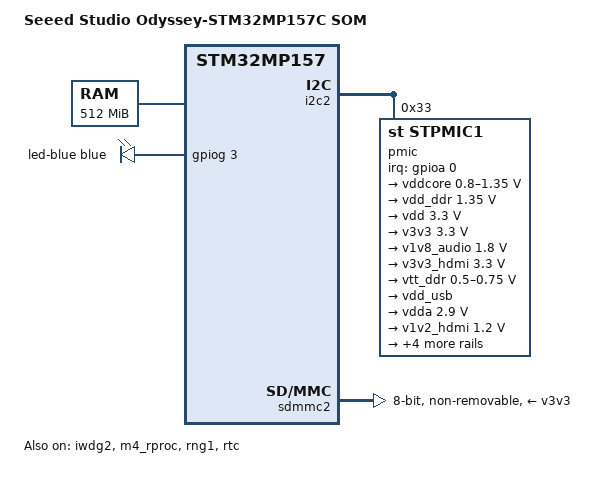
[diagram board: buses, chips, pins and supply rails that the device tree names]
// SPDX-License-Identifier: (GPL-2.0+ OR BSD-3-Clause)
/*
 * Copyright (C) 2020 Marcin Sloniewski <marcin.sloniewski@gmail.com>.
 */

/dts-v1/;

#include "stm32mp157.dtsi"
#include "stm32mp15xc.dtsi"
#include "stm32mp15-pinctrl.dtsi"
#include "stm32mp15xxac-pinctrl.dtsi"
#include <dt-bindings/gpio/gpio.h>
#include <dt-bindings/leds/common.h>
#include <dt-bindings/mfd/st,stpmic1.h>

/ {
	model = "Seeed Studio Odyssey-STM32MP157C SOM";
	compatible = "seeed,stm32mp157c-odyssey-som", "st,stm32mp157";

	memory@c0000000 {
		device_type = "memory";
		reg = <0xc0000000 0x20000000>;
	};

	reserved-memory {
		#address-cells = <1>;
		#size-cells = <1>;
		ranges;

		mcuram2: mcuram2@10000000 {
			compatible = "shared-dma-pool";
			reg = <0x10000000 0x40000>;
			no-map;
		};

		vdev0vring0: vdev0vring0@10040000 {
			compatible = "shared-dma-pool";
			reg = <0x10040000 0x1000>;
			no-map;
		};

		vdev0vring1: vdev0vring1@10041000 {
			compatible = "shared-dma-pool";
			reg = <0x10041000 0x1000>;
			no-map;
		};

		vdev0buffer: vdev0buffer@10042000 {
			compatible = "shared-dma-pool";
			reg = <0x10042000 0x4000>;
			no-map;
		};

		mcuram: mcuram@30000000 {
			compatible = "shared-dma-pool";
			reg = <0x30000000 0x40000>;
			no-map;
		};

		retram: retram@38000000 {
			compatible = "shared-dma-pool";
			reg = <0x38000000 0x10000>;
			no-map;
		};
	};

	led {
		compatible = "gpio-leds";
		led-blue {
			color = <LED_COLOR_ID_BLUE>;
			function = LED_FUNCTION_HEARTBEAT;
			gpios = <&gpiog 3 GPIO_ACTIVE_HIGH>;
			linux,default-trigger = "heartbeat";
		};
	};
};

&bsec {
	bootph-all;
};

&clk_hse {
	bootph-all;
};

&clk_hsi {
	bootph-all;
};

&clk_lse {
	bootph-all;
};

&clk_lsi {
	bootph-all;
};

&clk_csi {
	bootph-all;
};

&gpioa {
	bootph-all;
};

&gpiob {
	bootph-all;
};

&gpioc {
	bootph-all;
};

&gpiod {
	bootph-all;
};

&gpioe {
	bootph-all;
};

&gpiof {
	bootph-all;
};

&gpiog {
	bootph-all;
};

&gpioh {
	bootph-all;
};

&gpioi {
	bootph-all;
};

&gpioj {
	bootph-all;
};

&gpiok {
	bootph-all;
};

&gpioz {
	bootph-all;
};

&i2c2 {
	pinctrl-names = "default";
	pinctrl-0 = <&i2c2_pins_a>;
	i2c-scl-rising-time-ns = <185>;
	i2c-scl-falling-time-ns = <20>;
	bootph-all;
	status = "okay";
	/* spare dmas for other usage */
	/delete-property/dmas;
	/delete-property/dma-names;

	pmic: stpmic@33 {
		compatible = "st,stpmic1";
		reg = <0x33>;
		interrupts-extended = <&gpioa 0 IRQ_TYPE_EDGE_FALLING>;
		interrupt-controller;
		#interrupt-cells = <2>;
		bootph-all;

		regulators {
			compatible = "st,stpmic1-regulators";
			ldo1-supply = <&v3v3>;
			ldo3-supply = <&vdd_ddr>;
			ldo6-supply = <&v3v3>;
			pwr_sw1-supply = <&bst_out>;
			pwr_sw2-supply = <&bst_out>;

			vddcore: buck1 {
				regulator-name = "vddcore";
				regulator-min-microvolt = <800000>;
				regulator-max-microvolt = <1350000>;
				regulator-always-on;
				regulator-initial-mode = <0>;
				regulator-over-current-protection;
			};

			vdd_ddr: buck2 {
				regulator-name = "vdd_ddr";
				regulator-min-microvolt = <1350000>;
				regulator-max-microvolt = <1350000>;
				regulator-always-on;
				regulator-initial-mode = <0>;
				regulator-over-current-protection;
			};

			vdd: buck3 {
				regulator-name = "vdd";
				regulator-min-microvolt = <3300000>;
				regulator-max-microvolt = <3300000>;
				regulator-always-on;
				st,mask-reset;
				regulator-initial-mode = <0>;
				regulator-over-current-protection;
			};

			v3v3: buck4 {
				regulator-name = "v3v3";
				regulator-min-microvolt = <3300000>;
				regulator-max-microvolt = <3300000>;
				regulator-always-on;
				regulator-over-current-protection;
				regulator-initial-mode = <0>;
			};

			v1v8_audio: ldo1 {
				regulator-name = "v1v8_audio";
				regulator-min-microvolt = <1800000>;
				regulator-max-microvolt = <1800000>;
				regulator-always-on;
				interrupts = <IT_CURLIM_LDO1 0>;
			};

			v3v3_hdmi: ldo2 {
				regulator-name = "v3v3_hdmi";
				regulator-min-microvolt = <3300000>;
				regulator-max-microvolt = <3300000>;
				regulator-always-on;
				interrupts = <IT_CURLIM_LDO2 0>;
			};

			vtt_ddr: ldo3 {
				regulator-name = "vtt_ddr";
				regulator-min-microvolt = <500000>;
				regulator-max-microvolt = <750000>;
				regulator-always-on;
				regulator-over-current-protection;
			};

			vdd_usb: ldo4 {
				regulator-name = "vdd_usb";
				interrupts = <IT_CURLIM_LDO4 0>;
			};

			vdda: ldo5 {
				regulator-name = "vdda";
				regulator-min-microvolt = <2900000>;
				regulator-max-microvolt = <2900000>;
				interrupts = <IT_CURLIM_LDO5 0>;
				regulator-boot-on;
			};

			v1v2_hdmi: ldo6 {
				regulator-name = "v1v2_hdmi";
				regulator-min-microvolt = <1200000>;
				regulator-max-microvolt = <1200000>;
				regulator-always-on;
				interrupts = <IT_CURLIM_LDO6 0>;
			};

			vref_ddr: vref_ddr {
				regulator-name = "vref_ddr";
				regulator-always-on;
			};

			 bst_out: boost {
				regulator-name = "bst_out";
				interrupts = <IT_OCP_BOOST 0>;
			 };

			vbus_otg: pwr_sw1 {
				regulator-name = "vbus_otg";
				interrupts = <IT_OCP_OTG 0>;
			 };

			 vbus_sw: pwr_sw2 {
				regulator-name = "vbus_sw";
				interrupts = <IT_OCP_SWOUT 0>;
				regulator-active-discharge = <1>;
			 };
		};

		onkey {
			compatible = "st,stpmic1-onkey";
			interrupts = <IT_PONKEY_F 0>, <IT_PONKEY_R 0>;
			interrupt-names = "onkey-falling", "onkey-rising";
			power-off-time-sec = <10>;
		};

		watchdog {
			compatible = "st,stpmic1-wdt";
			status = "disabled";
		};
	};
};

&i2c2_pins_a {
	bootph-all;
	pins {
		bootph-all;
	};
};

&ipcc {
	status = "okay";
};

&iwdg2 {
	timeout-sec = <32>;
	bootph-all;
	status = "okay";
};

&m4_rproc {
	memory-region = <&retram>, <&mcuram>, <&mcuram2>, <&vdev0vring0>,
			<&vdev0vring1>, <&vdev0buffer>;
	mboxes = <&ipcc 0>, <&ipcc 1>, <&ipcc 2>, <&ipcc 3>;
	mbox-names = "vq0", "vq1", "shutdown", "detach";
	interrupt-parent = <&exti>;
	interrupts = <68 1>;
	status = "okay";
};

&pinctrl {
	bootph-all;
};

&pinctrl_z {
	bootph-all;
};

&psci {
	bootph-some-ram;
};

&pwr_regulators {
	bootph-all;
};

&rcc {
	bootph-all;
};

&rng1 {
	status = "okay";
};

&rtc {
	status = "okay";
};

&sdmmc2 {
	pinctrl-names = "default", "opendrain", "sleep";
	pinctrl-0 = <&sdmmc2_b4_pins_a &sdmmc2_d47_pins_d>;
	pinctrl-1 = <&sdmmc2_b4_od_pins_a &sdmmc2_d47_pins_d>;
	pinctrl-2 = <&sdmmc2_b4_sleep_pins_a &sdmmc2_d47_sleep_pins_d>;
	non-removable;
	no-sd;
	no-sdio;
	st,neg-edge;
	bus-width = <8>;
	vmmc-supply = <&v3v3>;
	vqmmc-supply = <&vdd>;
	mmc-ddr-3_3v;
	bootph-pre-ram;
	status = "okay";
};

&sdmmc2_b4_pins_a {
	bootph-pre-ram;
	pins1 {
		bootph-pre-ram;
	};
	pins2 {
		bootph-pre-ram;
	};
};

&sdmmc2_d47_pins_d {
	bootph-pre-ram;
	pins {
		bootph-pre-ram;
	};
};
